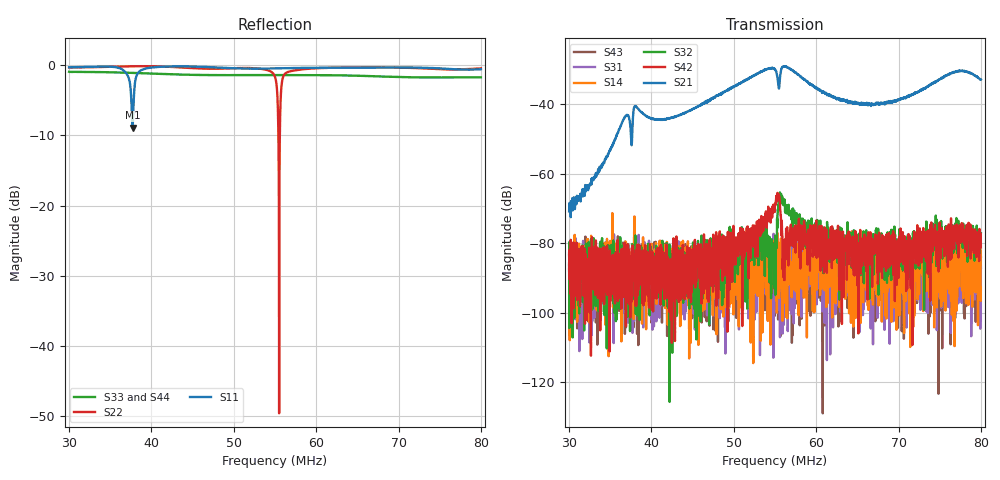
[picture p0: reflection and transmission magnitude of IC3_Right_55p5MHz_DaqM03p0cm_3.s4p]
#  HZ  S  DB  R  50.00
! Rohde & Schwarz Vector Network Analyzer
! Rohde-Schwarz,ZNB8-4Port,1311601044102961,2.82
! Created: UTC 2/13/2019, 12:10:36 PM
! freq[Hz]  db:S11  ang:S11  db:S12  ang:S12  db:S13  ang:S13  db:S14  ang:S14
!  db:S21  ang:S21  db:S22  ang:S22  db:S23  ang:S23  db:S24  ang:S24
!  db:S31  ang:S31  db:S32  ang:S32  db:S33  ang:S33  db:S34  ang:S34
!  db:S41  ang:S41  db:S42  ang:S42  db:S43  ang:S43  db:S44  ang:S44
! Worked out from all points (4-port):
!   2001 points, 30 MHz to 80 MHz, reference 50 ohm
!   strongest paths, dB at 30 MHz, 42.5 MHz, 55 MHz, 67.5 MHz, 80 MHz:
!     S21: -70.9, -43.9, -30.1, -39.7, -32.9
!     S42: -87.4, -88.3, -68.6, -91.7, -81.2
!     S32: -86.1, -91.5, -82.8, -77.2, -77.1
!     S14: -85.7, -92.5, -86.5, -89.9, -92.7
!     S31: -82.8, -87.6, -84.4, -85.9, -83.8
!     S43: -83.4, -92.8, -93.3, -90.3, -87.1
!   lowest |S11| = -8.9 dB at 37.7 MHz (marker M1), VSWR 2.12, Z = 95.7 - j27.4 ohm
!   |S11| at or under -10 dB: nowhere
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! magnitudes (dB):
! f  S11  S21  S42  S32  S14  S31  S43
! 30 MHz  -0.3  -70.9  -87.4  -86.1  -85.7  -82.8  -83.4
! 37.7 MHz  -8.9  -46.2  -90.9  -94.5  -86.8  -105.8  -86.7
! 50.23 MHz  -0.4  -34.8  -78.4  -87.2  -94.8  -84.4  -93.0
! 54.83 MHz  -0.5  -29.8  -69.4  -84.6  -85.9  -77.3  -90.9
! 55.75 MHz  -0.4  -30.1  -75.4  -65.8  -86.5  -88.4  -99.4
! 60.02 MHz  -0.4  -35.5  -84.1  -73.6  -87.1  -89.4  -84.0
! 80 MHz  -0.6  -32.9  -81.2  -77.1  -92.7  -83.8  -87.1
